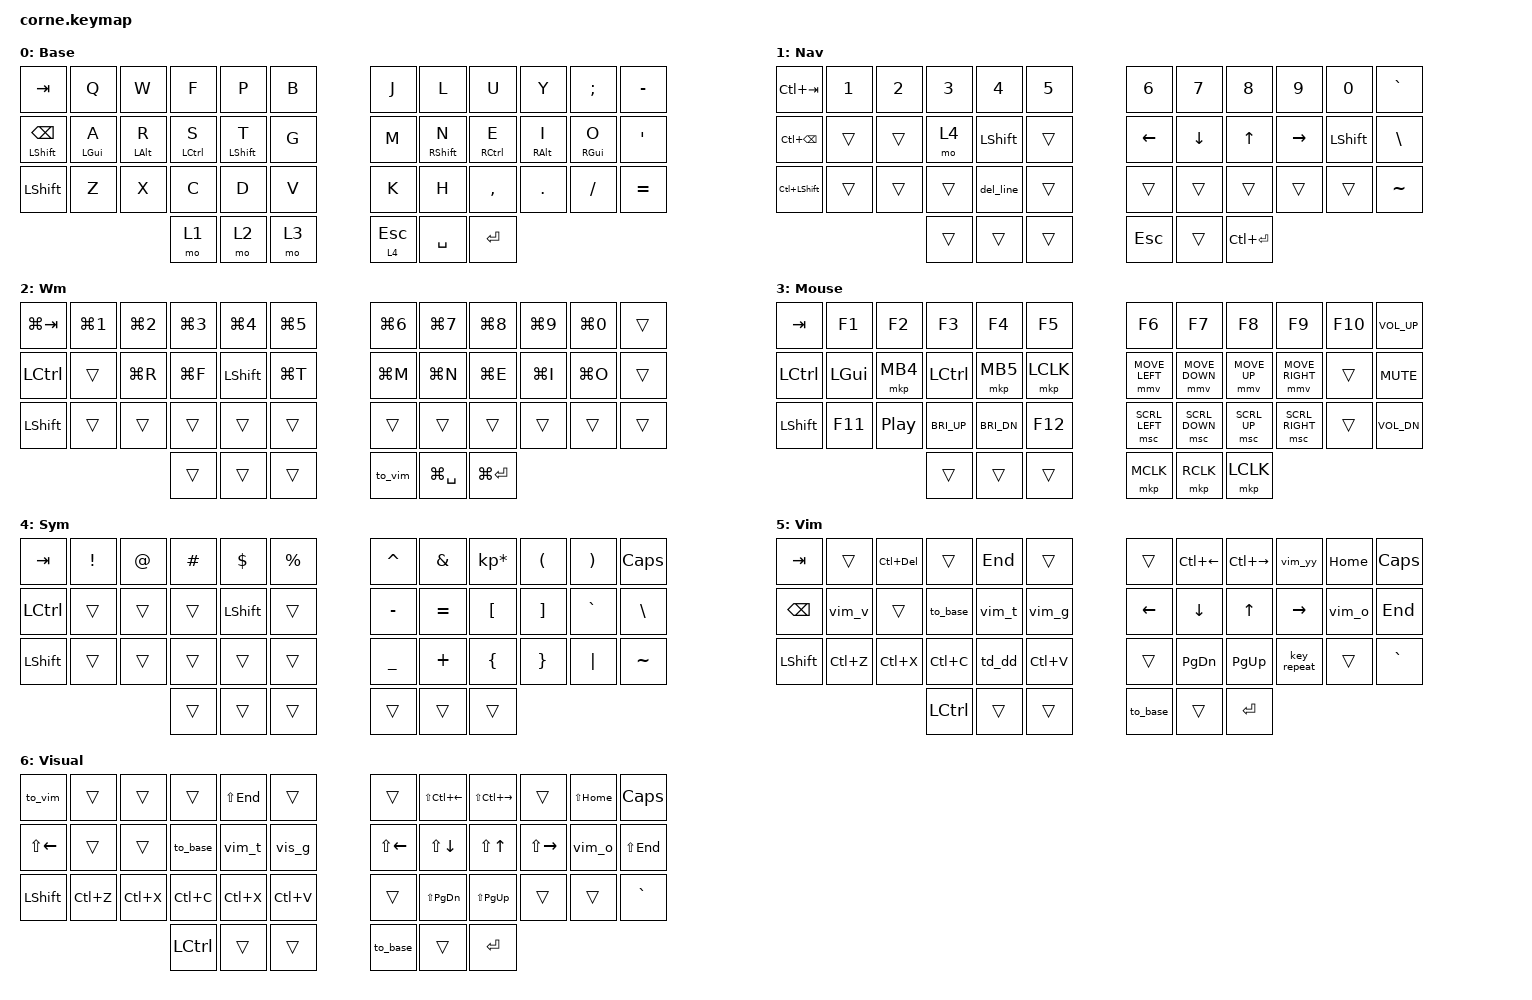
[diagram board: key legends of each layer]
/*
 * Copyright (c) 2020 The ZMK Contributors
 *
 * SPDX-License-Identifier: MIT
 */

#include <behaviors.dtsi>
#include <dt-bindings/zmk/keys.h>
#include <dt-bindings/zmk/bt.h>
#include <dt-bindings/zmk/pointing.h>

/ {
    behaviors {
        hml: home_row_mod_left {
            compatible = "zmk,behavior-hold-tap";
            #binding-cells = <2>;
            flavor = "balanced";
            require-prior-idle-ms = <150>;
            tapping-term-ms = <280>;
            quick-tap-ms = <175>;
            bindings = <&kp>, <&kp>;
            hold-trigger-key-positions = <6 7 8 9 10 11 18 19 20 21 22 23 30 31 32 33 34 35 39 40 41>; // List of keys on the right side of the keyboard
            hold-trigger-on-release;
        };
        hmr: home_row_mod_right {
            compatible = "zmk,behavior-hold-tap";
            #binding-cells = <2>;
            flavor = "balanced";
            require-prior-idle-ms = <150>;
            tapping-term-ms = <280>;
            quick-tap-ms = <175>;
            bindings = <&kp>, <&kp>;
            hold-trigger-key-positions = <0 1 2 3 4 5 12 13 14 15 16 17 24 25 26 27 28 29 36 37 38>; // List of keys on the left side of the keyboard
            hold-trigger-on-release;
        };
        // Double-tap D to delete line (prevents accidental deletes)
        td_dd: tap_dance_dd {
            compatible = "zmk,behavior-tap-dance";
            #binding-cells = <0>;
            tapping-term-ms = <200>;
            bindings = <&kp LC(X)>, <&vim_dd>;
        };
        // Double-tap G for top of file (gg)
        td_gg: tap_dance_gg {
            compatible = "zmk,behavior-tap-dance";
            #binding-cells = <0>;
            tapping-term-ms = <200>;
            bindings = <&none>, <&kp LC(HOME)>;
        };
        // Double-tap G = gg (top), Shift + G = G (bottom)
        vim_g: vim_g {
            compatible = "zmk,behavior-mod-morph";
            #binding-cells = <0>;
            bindings = <&td_gg>, <&kp LC(END)>;
            mods = <(MOD_LSFT|MOD_RSFT)>;
        };
        // Double-tap G on Visual layer = highlight to top of file
        td_vis_gg: tap_dance_vis_gg {
            compatible = "zmk,behavior-tap-dance";
            #binding-cells = <0>;
            tapping-term-ms = <200>;
            bindings = <&none>, <&kp LS(LC(HOME))>;
        };
        // Double-tap G = select to top, Shift + G = select to bottom
        vis_g: vis_g {
            compatible = "zmk,behavior-mod-morph";
            #binding-cells = <0>;
            bindings = <&td_vis_gg>, <&kp LS(LC(END))>;
            mods = <(MOD_LSFT|MOD_RSFT)>;
        };
        vim_v: vim_v {
            compatible = "zmk,behavior-mod-morph";
            #binding-cells = <0>;
            bindings = <&to_vis>, <&vim_V>;
            mods = <(MOD_LSFT|MOD_RSFT)>;
        };
    };

    macros {
        to_base: to_base {
             compatible = "zmk,behavior-macro";
             #binding-cells = <0>;
             wait-ms = <10>;
             tap-ms = <10>;
             bindings = <&to 0 &kp F13>;
         };
         to_vim: to_vim {
             compatible = "zmk,behavior-macro";
             #binding-cells = <0>;
             wait-ms = <10>;
             tap-ms = <10>;
             bindings = <&to 5 &kp F14>;
         };
         to_vis: to_vis {
             compatible = "zmk,behavior-macro";
             #binding-cells = <0>;
             wait-ms = <10>;
             tap-ms = <10>;
             bindings = <&to 6 &kp F15>;
        };
        vim_yy: vim_yy {
            compatible = "zmk,behavior-macro";
            #binding-cells = <0>;
            wait-ms = <10>;
            tap-ms = <10>;
            bindings = <&kp HOME &kp LS(END) &kp LC(C) &kp RIGHT>;
        };
        vim_o: vim_o {
            compatible = "zmk,behavior-macro";
            #binding-cells = <0>;
            wait-ms = <10>;
            tap-ms = <10>;
            bindings = <&kp END &kp RET &to 0 &kp F13>;
        };
        vim_t: vim_t {
            compatible = "zmk,behavior-macro";
            #binding-cells = <0>;
            wait-ms = <10>;
            tap-ms = <10>;
            bindings = <&kp RIGHT &to 0 &kp F13>;
        };
        vim_dd: vim_dd {
            compatible = "zmk,behavior-macro";
            #binding-cells = <0>;
            wait-ms = <10>;
            tap-ms = <10>;
            bindings = <&kp HOME &kp LS(END) &kp LC(X) &kp DEL>;
        };
        vim_V: vim_V {
            compatible = "zmk,behavior-macro";
            #binding-cells = <0>;
            wait-ms = <10>;
            tap-ms = <10>;
            bindings = <&kp HOME &kp LS(END) &to 6 &kp F15>;
        };
       del_line: del_line {
             compatible = "zmk,behavior-macro";
             #binding-cells = <0>;
             wait-ms = <10>;
             tap-ms = <10>;
             // Ctrl+U style (delete from cursor to start of line):
             bindings = <&kp LS(HOME) &kp BSPC>;
             // Or comment out the line above and uncomment below to delete the entire line:
             // bindings = <&kp HOME &kp LS(END) &kp BSPC &kp DEL>;
        };
    };

    combos {
        compatible = "zmk,combos";
        combo_bt_clr {
            timeout-ms = <60>;
            key-positions = <0 11>;
            layers = <4>;
            bindings = <&bt BT_CLR>;
        };
        combo_vim_on {
            timeout-ms = <60>;
            key-positions = <37 39>;
            layers = <0>;
            bindings = <&to_vim>;
        };
        combo_vim_off {
            timeout-ms = <60>;
            key-positions = <37 39>;
            layers = <5 6>;
            bindings = <&to_base>;
        };
    };

        keymap {
                compatible = "zmk,keymap";

                default_layer {
// ----------------------------------------------------------------------------------------------------------------------------------------------------------------------
// |  TAB |  Q  |  W  |  F  |  P  |  B  ||       ||  J  |  L   |  U  |  Y  |  ;  |  -  |
// | BKSP |  A  |  R  |  S  |  T  |  G  ||       ||  M  |  N   |  E  |  I  |  O  |  '  |
// | SHFT |  Z  |  X  |  C  |  D  |  V  ||       ||  K  |  H   |  ,  |  .  |  /  |  =  |
//                    | NAV | WM  | Ms  ||       || ESC | SPC  | ENT |
                        display-name = "Base";
                        bindings = <
   &kp TAB         &kp Q       &kp W       &kp F        &kp P        &kp B       &kp J     &kp L        &kp U        &kp Y       &kp SEMI    &kp MINUS
   &hml LSHFT BSPC &hml LGUI A &hml LALT R &hml LCTRL S &hml LSHFT T &kp G       &kp M     &hmr RSHFT N &hmr RCTRL E &hmr RALT I &hmr RGUI O &kp SQT
   &kp LSHFT       &kp Z       &kp X       &kp C        &kp D        &kp V       &kp K     &kp H        &kp COMMA    &kp DOT     &kp FSLH    &kp EQUAL
                                           &mo 1        &mo 2        &mo 3       &lt 4 ESC &kp SPACE    &kp RET
                        >;
                };

                nav_layer {
// ----------------------------------------------------------------------------------------------------------------------------------------------------------------------
// |  C-TAB |  1  |  2  |  3  |   4  |  5  ||       ||  6  |  7  |  8    |  9  |   0  |  `  |
// | C-BKSP |     |     | SYM | SHFT |     ||       || LFT | DWN |  UP   | RGT | SHFT |  \  |
// | C-SHFT |     |     |     |  DLn |     ||       ||     |     |       |     |      |  ~  |
//                      |     |      |     ||       || ESC |     | C-ENT |
                        display-name = "Nav";
                        bindings = <
   &kp LC(TAB)   &kp N1 &kp N2 &kp N3 &kp N4    &kp N5       &kp N6   &kp N7   &kp N8 &kp N9    &kp N0    &kp GRAVE
   &kp LC(BSPC)  &trans &trans &mo 4  &kp LSHFT &trans       &kp LEFT &kp DOWN &kp UP &kp RIGHT &kp LSHFT &kp BSLH
   &kp LC(LSHFT) &trans &trans &trans &del_line &trans       &trans   &trans   &trans &trans    &trans    &kp TILDE
                               &trans &trans    &trans       &kp ESC  &trans   &kp LC(RET)
                        >;
                };

                wm_layer {
// ----------------------------------------------------------------------------------------------------------------------------------------------------------------------
// | G-TAB | W-1 | W-2 | W-3 |  W-4 | W-5 ||       || W-6 |  W-7 |  W-8 | W-9 | W-10 |      |
// |  CTRL |     | W-R | W-F | SHFT | W-t ||       || W-L |  W-D |  W-U | W-R |  W-O |      |
// |  SHFT |     |     |     |      |     ||       ||     |  W-M |      |     |      | SHFT |
//                     |     |      |     ||       ||     | ROFI | TERM |
                        display-name = "Wm";
                        bindings = <
   &kp LG(TAB) &kp LG(N1) &kp LG(N2) &kp LG(N3) &kp LG(N4) &kp LG(N5)       &kp LG(N6) &kp LG(N7)    &kp LG(N8) &kp LG(N9) &kp LG(N0) &trans
   &kp LCTRL   &trans     &kp LG(R)  &kp LG(F)  &kp LSHFT  &kp LG(T)        &kp LG(M)  &kp LG(N)     &kp LG(E)  &kp LG(I)  &kp LG(O)  &trans
   &kp LSHFT   &trans     &trans     &trans     &trans     &trans           &trans     &trans        &trans     &trans     &trans     &trans
                                     &trans     &trans     &trans           &to_vim    &kp LG(SPACE) &kp LG(RET)
                        >;
                };

                mouse_layer {
// ----------------------------------------------------------------------------------------------------------------------------------------------------------------------
// |  TAB |  F1  |    F2 |  F3  |  F4  |  F5  ||       ||  F6  |  F7  |  F8  |  F9  | F10 |  VOL + |
// | CTRL | LGUI |    BK | CTRL |  FW  | LCLK ||       ||  M-L |  M-D |  M-U |  M-R |     |  MUTE  |
// | SHFT |  F11 | PAUSE | Br_U | Br_D |  F12 ||       || Sc-L | Sc-D | Sc-U | Sc-R |     |  VOL - |
//                       |      |      |      ||       || MCLK | RCLK | LCLK |
                        display-name = "Mouse";
                        bindings = <
   &kp TAB   &kp F1   &kp F2    &kp F3       &kp F4       &kp F5          &kp F6         &kp F7         &kp F8       &kp F9          &kp F10 &kp C_VOL_UP
   &kp LCTRL &kp LGUI &mkp MB4  &kp LCTRL    &mkp MB5     &mkp LCLK       &mmv MOVE_LEFT &mmv MOVE_DOWN &mmv MOVE_UP &mmv MOVE_RIGHT &trans  &kp C_MUTE
   &kp LSHFT &kp F11  &kp C_PP  &kp C_BRI_UP &kp C_BRI_DN &kp F12         &msc SCRL_LEFT &msc SCRL_DOWN &msc SCRL_UP &msc SCRL_RIGHT &trans  &kp C_VOL_DN
                                &trans       &trans       &trans          &mkp MCLK      &mkp RCLK      &mkp LCLK
                        >;
                };

                sym_layer {
// ----------------------------------------------------------------------------------------------------------------------------------------------------------------------
// |  TAB |  !  |  @  |  #  |   $  |  %  ||       ||  ^  |  &  |  *  |  (  |  )  | CAPS |
// | CTRL |     |     |     | SHFT |     ||       ||  -  |  =  |  [  |  ]  |  `  |  \   |
// | SHFT |     |     |     |      |     ||       ||  _  |  +  |  {  |  }  | "|" |  ~   |
//                    |     |      |     ||       ||     |     |     |
                        display-name = "Sym";
                        bindings = <
   &kp  TAB  &kp EXCL &kp AT &kp HASH &kp DLLR  &kp PRCNT       &kp CARET &kp AMPS  &kp KP_MULTIPLY &kp LPAR &kp RPAR  &kp CAPS
   &kp LCTRL &trans   &trans &trans   &kp LSHFT &trans          &kp MINUS &kp EQUAL &kp LBKT        &kp RBKT &kp GRAVE &kp BSLH
   &kp LSHFT &trans   &trans &trans   &trans    &trans          &kp UNDER &kp PLUS  &kp LBRC        &kp RBRC &kp PIPE  &kp TILDE
                    	     &trans   &trans    &trans          &trans    &trans    &trans
                        >;
                };

                vim_layer {
// ----------------------------------------------------------------------------------------------------------------------------------------------------------------------
// |  TAB |     |  dw  |      |  V$  |     ||       ||      |   Vl |  Vu  | Vyy | V0 | CAPS |
// | BKSP | VIS |      | BASE | APND |  Vg ||       ||  LFT |  DWN |  UP  | RGT | Vo |  V$  |
// | SHFT |  UD | CUT  |  CP  |  CUT | PST ||       ||      | PGDN | PGUP | REP |    |   `  |
//                     | CTRL |      |     ||       || BASE |     | ENT |
                        display-name = "Vim";
                        bindings = <
   &kp TAB   &trans    &kp LC(DEL)   &trans    &kp END   &trans          &trans   &kp LC(LEFT) &kp LC(RIGHT) &vim_yy     &kp HOME &kp CAPS
   &kp BSPC  &vim_v    &trans        &to_base     &vim_t &vim_g          &kp LEFT &kp DOWN     &kp UP        &kp RIGHT   &vim_o   &kp END
   &kp LSHFT &kp LC(Z) &kp LC(X)     &kp LC(C) &td_dd    &kp LC(V)       &trans   &kp PG_DN    &kp PG_UP     &key_repeat &trans   &kp GRAVE
                                     &kp LCTRL &trans    &trans          &to_base &trans       &kp RET
                        >;
                };

                visual_layer {
// ----------------------------------------------------------------------------------------------------------------------------------------------------------------------
// |  VIM |    |     |      |  V$  |     ||       ||      |   Vl |  Vu  |     | V0 |      |
// |  LFT |    |     | BASE | APND |  Vg ||       ||  LFT |  DWN |  UP  | RGT |    |  V$  |
// | SHFT | UD | CUT |  CP  |  CUT | PST ||       ||      | PGDN | PGUP | REP |    |   `  |
//                   | CTRL |      |     ||       || BASE |      | ENT |
                        display-name = "Visual";
                        bindings = <
   &to_vim      &trans    &trans    &trans    &kp LS(END) &trans          &trans       &kp LS(LC(LEFT)) &kp LS(LC(RIGHT)) &trans        &kp LS(HOME) &kp CAPS
   &kp LS(LEFT) &trans    &trans    &to_base  &vim_t      &vis_g          &kp LS(LEFT) &kp LS(DOWN)     &kp LS(UP)        &kp LS(RIGHT) &vim_o       &kp LS(END)
   &kp LSHFT    &kp LC(Z) &kp LC(X) &kp LC(C) &kp LC(X)   &kp LC(V)       &trans       &kp LS(PG_DN)    &kp LS(PG_UP)     &trans        &trans       &kp GRAVE
                                    &kp LCTRL &trans      &trans          &to_base     &trans           &kp RET
                        >;
                };

                extra_1 {
                        status = "reserved";
                };

                extra_2 {
                        status = "reserved";
                };

                extra_3 {
                        status = "reserved";
                };
        };
};
